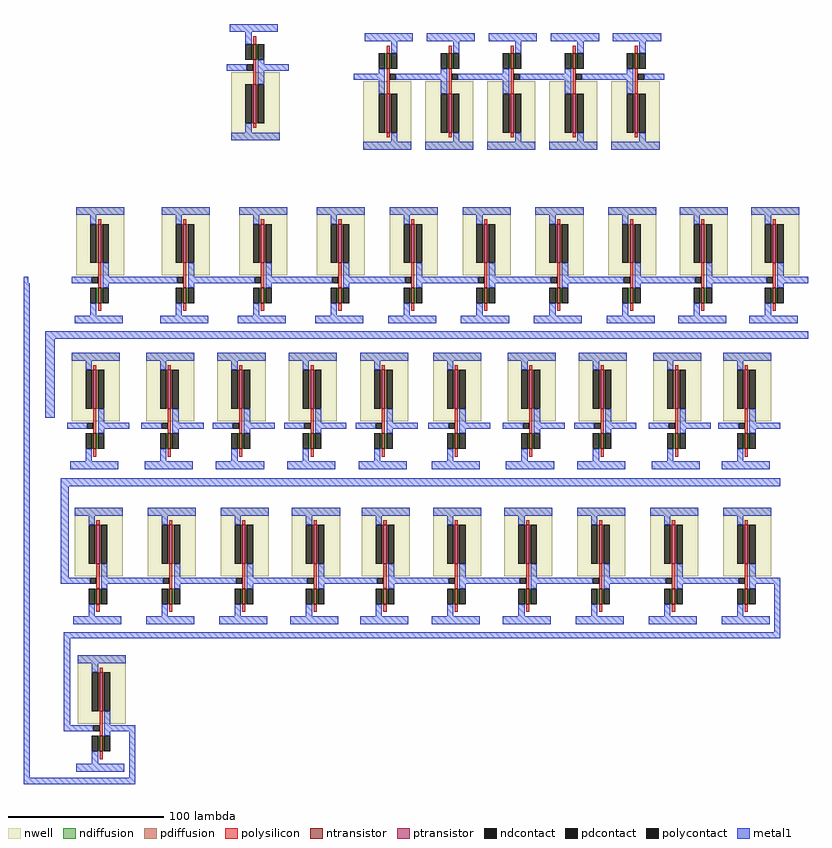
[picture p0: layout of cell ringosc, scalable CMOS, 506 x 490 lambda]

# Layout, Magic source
magic
tech scmos
<< metal1 >>
rect -119 46 -116 50
rect -48 46 -33 50
rect 7 46 17 50
rect 57 46 67 50
rect 107 46 114 50
rect 154 46 161 50
rect 201 46 208 50
rect 248 46 255 50
rect 295 46 301 50
rect 341 46 347 50
rect -119 -273 -115 46
rect -105 10 387 15
rect -105 -41 -99 10
rect -95 -85 369 -80
rect -95 -144 -90 -85
rect -95 -148 -89 -144
rect -49 -148 -42 -144
rect -2 -148 5 -144
rect 45 -148 51 -144
rect 91 -148 96 -144
rect 136 -148 142 -144
rect 182 -148 188 -144
rect 228 -148 235 -144
rect 275 -148 282 -144
rect 322 -148 329 -144
rect 365 -179 369 -148
rect -93 -183 369 -179
rect -93 -239 -89 -183
rect -93 -243 -87 -239
rect -51 -273 -47 -243
rect -119 -277 -47 -273
use inverter  inverter_31
transform 1 0 35 0 -1 171
box -23 -42 17 33
use inverter  inverter_32
array 0 4 40 0 0 75
transform -1 0 271 0 -1 165
box -23 -42 17 33
use inverter  inverter_0
transform 1 0 -65 0 1 62
box -23 -42 17 33
use inverter  inverter_1
transform 1 0 -10 0 1 62
box -23 -42 17 33
use inverter  inverter_2
transform 1 0 40 0 1 62
box -23 -42 17 33
use inverter  inverter_3
transform 1 0 90 0 1 62
box -23 -42 17 33
use inverter  inverter_4
transform 1 0 137 0 1 62
box -23 -42 17 33
use inverter  inverter_5
transform 1 0 184 0 1 62
box -23 -42 17 33
use inverter  inverter_6
transform 1 0 231 0 1 62
box -23 -42 17 33
use inverter  inverter_7
transform 1 0 278 0 1 62
box -23 -42 17 33
use inverter  inverter_8
transform 1 0 324 0 1 62
box -23 -42 17 33
use inverter  inverter_9
transform 1 0 370 0 1 62
box -23 -42 17 33
use inverter  inverter_10
transform 1 0 -68 0 1 -32
box -23 -42 17 33
use inverter  inverter_11
transform 1 0 -20 0 1 -32
box -23 -42 17 33
use inverter  inverter_12
transform 1 0 26 0 1 -32
box -23 -42 17 33
use inverter  inverter_13
transform 1 0 72 0 1 -32
box -23 -42 17 33
use inverter  inverter_14
transform 1 0 118 0 1 -32
box -23 -42 17 33
use inverter  inverter_15
transform 1 0 165 0 1 -32
box -23 -42 17 33
use inverter  inverter_16
transform 1 0 213 0 1 -32
box -23 -42 17 33
use inverter  inverter_17
transform 1 0 259 0 1 -32
box -23 -42 17 33
use inverter  inverter_18
transform 1 0 307 0 1 -32
box -23 -42 17 33
use inverter  inverter_19
transform 1 0 352 0 1 -32
box -23 -42 17 33
use inverter  inverter_20
transform 1 0 -66 0 1 -132
box -23 -42 17 33
use inverter  inverter_21
transform 1 0 -19 0 1 -132
box -23 -42 17 33
use inverter  inverter_22
transform 1 0 28 0 1 -132
box -23 -42 17 33
use inverter  inverter_23
transform 1 0 74 0 1 -132
box -23 -42 17 33
use inverter  inverter_24
transform 1 0 119 0 1 -132
box -23 -42 17 33
use inverter  inverter_25
transform 1 0 165 0 1 -132
box -23 -42 17 33
use inverter  inverter_26
transform 1 0 211 0 1 -132
box -23 -42 17 33
use inverter  inverter_27
transform 1 0 258 0 1 -132
box -23 -42 17 33
use inverter  inverter_28
transform 1 0 305 0 1 -132
box -23 -42 17 33
use inverter  inverter_29
transform 1 0 352 0 1 -132
box -23 -42 17 33
use inverter  inverter_30
transform 1 0 -64 0 1 -227
box -23 -42 17 33
<< end >>

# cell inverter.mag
magic
tech scmos
<< nwell >>
rect -20 -11 11 33
<< ntransistor >>
rect -6 -29 -4 -19
<< ptransistor >>
rect -6 -3 -4 22
<< ndiffusion >>
rect -7 -29 -6 -19
rect -4 -29 -3 -19
<< pdiffusion >>
rect -7 -3 -6 22
rect -4 -3 -3 22
<< ndcontact >>
rect -11 -29 -7 -19
rect -3 -29 1 -19
<< pdcontact >>
rect -11 -3 -7 22
rect -3 -3 1 22
<< polysilicon >>
rect -6 22 -4 25
rect -6 -19 -4 -3
rect -6 -34 -4 -29
<< polycontact >>
rect -10 -16 -6 -12
<< metal1 >>
rect -20 28 11 33
rect -11 22 -7 28
rect -3 -12 1 -3
rect -23 -16 -10 -12
rect -3 -16 17 -12
rect -3 -19 1 -16
rect -11 -37 -7 -29
rect -21 -42 10 -37
<< labels >>
rlabel metal1 -20 28 11 33 5 vdd
rlabel metal1 1 -16 17 -12 1 Out
rlabel metal1 -23 -16 -10 -12 1 in
rlabel metal1 -21 -42 10 -37 1 gnd
<< end >>
